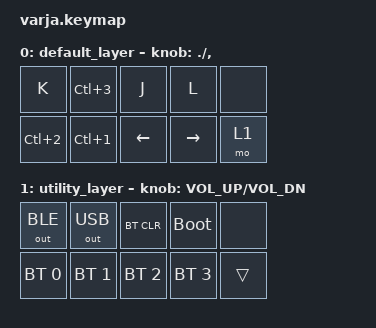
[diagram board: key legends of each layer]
/*
 * Copyright (c) 2024 The ZMK Contributors
 *
 * SPDX-License-Identifier: MIT
 */

#include <behaviors.dtsi>
#include <dt-bindings/zmk/keys.h>
#include <dt-bindings/zmk/bt.h>
#include <dt-bindings/zmk/outputs.h> // Required for USB/Bluetooth output toggles

/ {
    keymap {
        compatible = "zmk,keymap";

        // Layer 0: Your standard 9-key layout
        default_layer {
            bindings = <
                &kp K &kp LC(NUM_3) &kp J &kp L &none    // Top Row: 4 Keys + blank space for rotary encoder
                &kp LC(NUM_2) &kp LC(NUM_1) &kp LEFT &kp RIGHT &mo 1    // Bottom Row: 4 Keys + layer toggle
            >;
            sensor-bindings = <&inc_dec_kp PERIOD COMMA>; // Rotary Encoder behavior
        };

        // Layer 1: Bluetooth & Connection Utility (Active ONLY while holding the bottom-right key)
        utility_layer {
            bindings = <
                &out OUT_BLE &out OUT_USB &bt BT_CLR   &bootloader &none          // Top Row: Force BLE, Force USB, Clear Active Profile, Bootloader Mode
                &bt BT_SEL 0 &bt BT_SEL 1 &bt BT_SEL 2 &bt BT_SEL 3   &trans       // Bottom Row: Select BT Profiles 1-4, Trans                
            >;
            sensor-bindings = <&inc_dec_kp C_VOL_UP C_VOL_DN>;
        };
    };
};
